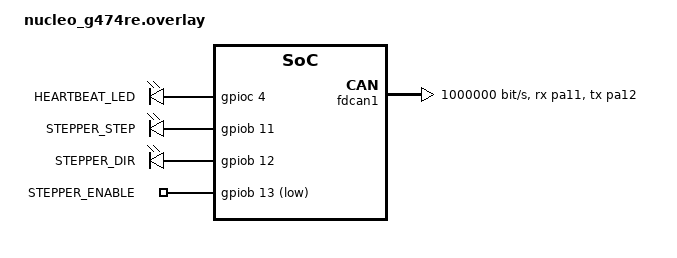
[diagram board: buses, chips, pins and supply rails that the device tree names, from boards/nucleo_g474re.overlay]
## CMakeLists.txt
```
cmake_minimum_required(VERSION 3.20.0)

set(CMAKE_CXX_STANDARD 20)
set(CMAKE_CXX_STANDARD_REQUIRED ON)
set(CMAKE_CXX_EXTENSIONS OFF)

find_package(Zephyr REQUIRED HINTS $ENV{ZEPHYR_BASE})
project(motor_node LANGUAGES CXX)

target_sources(app PRIVATE
  ${CMAKE_CURRENT_SOURCE_DIR}/src/main.cpp
  ${CMAKE_CURRENT_SOURCE_DIR}/src/gpio_overlay.cpp
  ${CMAKE_CURRENT_SOURCE_DIR}/src/heartbeat.cpp
  ${CMAKE_CURRENT_SOURCE_DIR}/src/stepper_motor_driver.cpp
  ${CMAKE_CURRENT_SOURCE_DIR}/src/motor_controller.cpp
  ${CMAKE_CURRENT_SOURCE_DIR}/../common/motor/src/can_bus_driver.cpp
  ${CMAKE_CURRENT_SOURCE_DIR}/../common/motor/src/message_codec.cpp
)

# Strict warnings apply only to our own application code, not to
# Zephyr's kernel/drivers/HAL/CMSIS sources (which are not -Werror clean
# on this toolchain and are not ours to fix).
target_compile_options(app PRIVATE
  -Wall
  -Wextra
  -Werror
  -Wvolatile
)

target_include_directories(app PRIVATE
  ${CMAKE_CURRENT_SOURCE_DIR}/include
  ${CMAKE_CURRENT_SOURCE_DIR}/../common/motor/include
)
```

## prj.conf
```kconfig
# ---- C++ support ------------------------------------------------------
CONFIG_CPP=y
CONFIG_STD_CPP20=y
CONFIG_NEWLIB_LIBC=y
CONFIG_GLIBCXX_LIBCPP=y

# ---- No heap allocation (Rule 1) --------------------------------------
CONFIG_HEAP_MEM_POOL_SIZE=0

# ---- Threading / stack watermarks (Rule 6) -----------------------------
CONFIG_THREAD_ANALYZER=y
CONFIG_THREAD_ANALYZER_AUTO=y
CONFIG_THREAD_NAME=y
CONFIG_MAIN_STACK_SIZE=2048

# ---- CAN-FD -------------------------------------------------------------
CONFIG_CAN=y
CONFIG_CAN_FD_MODE=y

# ---- GPIO (STEP/DIR/ENABLE, heartbeat LED) -------------------------------
CONFIG_GPIO=y

# ---- Precise timing for STEP pulse generation ---------------------------
CONFIG_COUNTER=y

# ---- Logging ----------------------------------------------------------
CONFIG_LOG=y
CONFIG_LOG_MODE_IMMEDIATE=y

# ---- Assertions ---------------------------------------------------------
CONFIG_ASSERT=y
```

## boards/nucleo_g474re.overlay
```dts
/*
 * Motor Node device tree overlay.
 * Binds: TMC2209 STEP/DIR/ENABLE GPIOs, FDCAN1 (CAN bus), PC4 heartbeat LED.
 *
 * Application code SHALL NEVER reference these nodes directly; only
 * gpio_overlay.cpp is permitted to consume DT_ALIAS()/DT_NODELABEL()
 * macros generated from this file.
 */

&fdcan1 {
	status = "okay";
	pinctrl-0 = <&fdcan1_rx_pa11 &fdcan1_tx_pa12>;
	pinctrl-names = "default";
	bitrate = <1000000>;
	bitrate-data = <4000000>;
};

/ {
	motor_leds {
		compatible = "gpio-leds";
		heartbeat_led: heartbeat_led_pc4 {
			gpios = <&gpioc 4 GPIO_ACTIVE_HIGH>;
			label = "HEARTBEAT_LED";
		};
	};

	motor_stepper_gpios {
		compatible = "gpio-leds";
		stepper_step: stepper_step_pb11 {
			gpios = <&gpiob 11 GPIO_ACTIVE_HIGH>;
			label = "STEPPER_STEP";
		};
		stepper_dir: stepper_dir_pb12 {
			gpios = <&gpiob 12 GPIO_ACTIVE_HIGH>;
			label = "STEPPER_DIR";
		};
		stepper_enable: stepper_enable_pb13 {
			gpios = <&gpiob 13 GPIO_ACTIVE_LOW>;
			label = "STEPPER_ENABLE";
		};
	};

	aliases {
		heartbeat-led = &heartbeat_led;
		stepper-step = &stepper_step;
		stepper-dir = &stepper_dir;
		stepper-enable = &stepper_enable;
		can-bus = &fdcan1;
	};
};
```

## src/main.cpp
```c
/// @file main.cpp
/// @brief Motor Node entry point. Wires gpio_overlay -> stepper_motor_driver
///        -> motor_controller and drives it from CAN RUN/STOP commands.
#include <zephyr/kernel.h>
#include <zephyr/logging/log.h>

#include "can_bus_driver.hpp"
#include "gpio_overlay.hpp"
#include "heartbeat.hpp"
#include "message_codec.hpp"
#include "motor_controller.hpp"
#include "stepper_motor_driver.hpp"

LOG_MODULE_REGISTER(motor_node_main, LOG_LEVEL_INF);

namespace {

using hce::motor_node::GpioOverlay;
using hce::motor_node::Heartbeat;
using hce::motor_node::MotorController;
using hce::motor_node::StepperMotorDriver;

constexpr uint32_t kStepTickPeriodUs = 1000U;
constexpr size_t kStepThreadStackSize = 1024U;
constexpr size_t kHeartbeatThreadStackSize = 1024U;
constexpr int kStepThreadPriority = 4;  // Higher priority: timing-critical.
constexpr int kHeartbeatThreadPriority = 5;

GpioOverlay g_overlay;
hce::motor::CanBusDriver* g_can_bus = nullptr;
StepperMotorDriver* g_stepper_driver = nullptr;
MotorController* g_motor_controller = nullptr;
Heartbeat* g_heartbeat = nullptr;

alignas(hce::motor::CanBusDriver) uint8_t g_can_bus_storage[sizeof(hce::motor::CanBusDriver)];
alignas(StepperMotorDriver) uint8_t g_stepper_storage[sizeof(StepperMotorDriver)];
alignas(MotorController) uint8_t g_controller_storage[sizeof(MotorController)];
alignas(Heartbeat) uint8_t g_heartbeat_storage[sizeof(Heartbeat)];

/// @brief ISR-context CAN RX callback for STOP (0x100). GPIO writes are
///        register-level and safe to issue directly from ISR context, so
///        no deferred work item is required for this safety-critical path.
extern "C" void OnStopCommandRx(const device* /*dev*/, can_frame* /*frame*/, void* /*user_data*/) {
    g_motor_controller->OnStopCommand();
}

/// @brief ISR-context CAN RX callback for RUN (0x400).
extern "C" void OnRunCommandRx(const device* /*dev*/, can_frame* frame, void* /*user_data*/) {
    hce::motor::MessageCodec::Payload payload{};
    for (uint8_t i = 0U; i < hce::motor::MessageCodec::kPayloadBytes && i < frame->dlc; ++i) {
        payload[i] = frame->data[i];
    }
    const hce::motor::RunCommandMessage msg = hce::motor::MessageCodec::DecodeRunCommand(payload);
    g_motor_controller->OnRunCommand(msg.step_rate_hz, msg.direction == 0U);
}

void StepThreadEntry(void* /*p1*/, void* /*p2*/, void* /*p3*/) {
    while (true) {
        g_motor_controller->Tick();
        k_usleep(kStepTickPeriodUs);
    }
}

void HeartbeatThreadEntry(void* /*p1*/, void* /*p2*/, void* /*p3*/) {
    while (true) {
        g_heartbeat->Tick();
        k_msleep(Heartbeat::kPeriodMs);
    }
}

K_THREAD_STACK_DEFINE(g_step_thread_stack, kStepThreadStackSize);
K_THREAD_STACK_DEFINE(g_heartbeat_thread_stack, kHeartbeatThreadStackSize);
k_thread g_step_thread{};
k_thread g_heartbeat_thread{};

}  // namespace

int main() {
    LOG_INF("Motor Node booting");

    if (!g_overlay.Init()) {
        LOG_ERR("gpio_overlay init failed - halting");
        return -1;
    }

    g_can_bus = new (g_can_bus_storage) hce::motor::CanBusDriver(g_overlay.CanDevice());
    g_stepper_driver = new (g_stepper_storage) StepperMotorDriver(g_overlay);
    g_motor_controller = new (g_controller_storage) MotorController(*g_stepper_driver);
    g_heartbeat = new (g_heartbeat_storage) Heartbeat(g_overlay, *g_can_bus);

    if (!g_can_bus->Init()) {
        LOG_ERR("CAN bus init failed - halting");
        return -1;
    }

    g_can_bus->AddRxFilter(hce::motor::CanId::kStopCommand, OnStopCommandRx, nullptr);
    g_can_bus->AddRxFilter(hce::motor::CanId::kRunCommand, OnRunCommandRx, nullptr);

    // Boot safe: motor starts disabled until an explicit RUN command arrives.
    g_motor_controller->OnStopCommand();

    k_thread_create(&g_step_thread, g_step_thread_stack, kStepThreadStackSize, StepThreadEntry,
                     nullptr, nullptr, nullptr, kStepThreadPriority, 0, K_NO_WAIT);
    k_thread_name_set(&g_step_thread, "motor_step");

    k_thread_create(&g_heartbeat_thread, g_heartbeat_thread_stack, kHeartbeatThreadStackSize,
                     HeartbeatThreadEntry, nullptr, nullptr, nullptr, kHeartbeatThreadPriority, 0,
                     K_NO_WAIT);
    k_thread_name_set(&g_heartbeat_thread, "motor_heartbeat");

    LOG_INF("Motor Node running");
    return 0;
}
```

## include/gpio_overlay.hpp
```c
/// @file gpio_overlay.hpp
/// @brief Sole layer permitted to reference Device Tree bindings for the
///        Motor Node. See sensor_node/include/gpio_overlay.hpp for the
///        architectural contract (application code never touches DT or
///        STM32 peripherals directly).
#pragma once

#include <cstdint>

#include <zephyr/device.h>
#include <zephyr/drivers/gpio.h>

namespace hce::motor_node {

/// @brief Thin, mockable wrapper around all Motor Node DT-bound devices.
class GpioOverlay {
public:
    GpioOverlay() = default;

    /// @brief Resolve and validate all required DT-bound devices.
    bool Init();

    /// @brief CAN-FD controller device (FDCAN1).
    const device* CanDevice() const { return can_dev_; }

    /// @brief Drive the heartbeat LED (PC4).
    bool SetHeartbeatLed(bool on);

    /// @brief Pulse the STEP line (PB11) high then low.
    bool PulseStep();

    /// @brief Set rotation direction (PB12). true = forward.
    bool SetDirection(bool forward);

    /// @brief Enable/disable the TMC2209 driver (PB13, active-low ENABLE).
    /// @param enabled true = motor enabled (EN pin driven low).
    bool SetMotorEnabled(bool enabled);

private:
    const device* can_dev_ = nullptr;
    gpio_dt_spec heartbeat_led_spec_{};
    gpio_dt_spec step_spec_{};
    gpio_dt_spec dir_spec_{};
    gpio_dt_spec enable_spec_{};
    bool initialized_ = false;
};

}  // namespace hce::motor_node
```

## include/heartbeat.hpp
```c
/// @file heartbeat.hpp
/// @brief Periodic heartbeat: toggles the PC4 LED and transmits CAN ID
///        0x201 every 200 ms.
#pragma once

#include <cstdint>

#include "can_bus_driver.hpp"
#include "gpio_overlay.hpp"
#include "message_codec.hpp"

namespace hce::motor_node {

/// @brief Motor Node heartbeat publisher.
class Heartbeat {
public:
    Heartbeat(GpioOverlay& overlay, hce::motor::ICanBusDriver& can_bus);

    void Tick();

    static constexpr uint32_t kPeriodMs = 200U;

private:
    GpioOverlay& overlay_;
    hce::motor::ICanBusDriver& can_bus_;
    uint32_t sequence_ = 0U;
    bool led_state_ = false;
};

}  // namespace hce::motor_node
```

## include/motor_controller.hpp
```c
/// @file motor_controller.hpp
/// @brief Interprets RUN (0x400) / STOP (0x100) CAN commands and drives
///        the stepper motor accordingly. Implements the State design
///        pattern (Rule 4: named design pattern) over {STOPPED, RUNNING}.
#pragma once

#include <cstdint>

#include "stepper_motor_driver.hpp"

namespace hce::motor_node {

/// @brief Motor Node run/stop state machine (State pattern).
enum class MotorState : uint8_t {
    kStopped = 0U,
    kRunning = 1U,
};

/// @brief Coordinates CAN commands with the stepper driver.
class MotorController {
public:
    explicit MotorController(IStepperMotorDriver& driver);

    /// @brief Handle a RUN command (CAN ID 0x400).
    void OnRunCommand(uint32_t step_rate_hz, bool forward);

    /// @brief Handle a STOP command (CAN ID 0x100). Immediately disables
    ///        the driver (safety-critical path).
    void OnStopCommand();

    /// @brief Generate STEP pulses at the configured rate. Intended to be
    ///        called periodically from the motor step thread; internally
    ///        no-ops unless MotorState::kRunning.
    void Tick();

    MotorState State() const { return state_; }

private:
    IStepperMotorDriver& driver_;
    MotorState state_ = MotorState::kStopped;
    uint32_t step_rate_hz_ = 0U;
    uint32_t tick_counter_ = 0U;
    static constexpr uint32_t kTickPeriodUs = 1000U;  ///< Tick() call period.
};

}  // namespace hce::motor_node
```

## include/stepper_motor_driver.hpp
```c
/// @file stepper_motor_driver.hpp
/// @brief TMC2209 STEP/DIR/ENABLE driver for the NEMA-11 stepper motor.
#pragma once

#include <cstdint>

#include "gpio_overlay.hpp"

namespace hce::motor_node {

/// @brief Interface so StepperMotorDriver can be mocked on the host build.
class IStepperMotorDriver {
public:
    virtual ~IStepperMotorDriver() = default;
    virtual void Enable() = 0;
    virtual void Disable() = 0;
    virtual void SetDirection(bool forward) = 0;
    virtual void Step() = 0;
    virtual bool IsEnabled() const = 0;
};

/// @brief Concrete TMC2209 STEP/DIR/ENABLE driver.
class StepperMotorDriver final : public IStepperMotorDriver {
public:
    explicit StepperMotorDriver(GpioOverlay& overlay);

    void Enable() override;
    void Disable() override;
    void SetDirection(bool forward) override;
    void Step() override;
    bool IsEnabled() const override { return enabled_; }

private:
    GpioOverlay& overlay_;
    bool enabled_ = false;
};

}  // namespace hce::motor_node
```

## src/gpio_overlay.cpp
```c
#include "gpio_overlay.hpp"

#include <zephyr/devicetree.h>
#include <zephyr/logging/log.h>

LOG_MODULE_REGISTER(motor_gpio_overlay, LOG_LEVEL_INF);

namespace hce::motor_node {

bool GpioOverlay::Init() {
    can_dev_ = DEVICE_DT_GET(DT_ALIAS(can_bus));
    heartbeat_led_spec_ = GPIO_DT_SPEC_GET(DT_ALIAS(heartbeat_led), gpios);
    step_spec_ = GPIO_DT_SPEC_GET(DT_ALIAS(stepper_step), gpios);
    dir_spec_ = GPIO_DT_SPEC_GET(DT_ALIAS(stepper_dir), gpios);
    enable_spec_ = GPIO_DT_SPEC_GET(DT_ALIAS(stepper_enable), gpios);

    if (!device_is_ready(can_dev_) || !device_is_ready(heartbeat_led_spec_.port) ||
        !device_is_ready(step_spec_.port) || !device_is_ready(dir_spec_.port) ||
        !device_is_ready(enable_spec_.port)) {
        LOG_ERR("One or more Motor Node devices are not ready");
        return false;
    }

    int err = gpio_pin_configure_dt(&heartbeat_led_spec_, GPIO_OUTPUT_INACTIVE);
    err |= gpio_pin_configure_dt(&step_spec_, GPIO_OUTPUT_INACTIVE);
    err |= gpio_pin_configure_dt(&dir_spec_, GPIO_OUTPUT_INACTIVE);
    // Boot in the disabled (safe) state: ENABLE is active-low, so
    // "inactive" here drives EN high, i.e. the TMC2209 stays disabled.
    err |= gpio_pin_configure_dt(&enable_spec_, GPIO_OUTPUT_INACTIVE);
    if (err != 0) {
        LOG_ERR("GPIO configuration failed: %d", err);
        return false;
    }

    initialized_ = true;
    return true;
}

bool GpioOverlay::SetHeartbeatLed(bool on) {
    if (!initialized_) {
        return false;
    }
    return gpio_pin_set_dt(&heartbeat_led_spec_, on ? 1 : 0) == 0;
}

bool GpioOverlay::PulseStep() {
    if (!initialized_) {
        return false;
    }
    gpio_pin_set_dt(&step_spec_, 1);
    gpio_pin_set_dt(&step_spec_, 0);
    return true;
}

bool GpioOverlay::SetDirection(bool forward) {
    if (!initialized_) {
        return false;
    }
    return gpio_pin_set_dt(&dir_spec_, forward ? 1 : 0) == 0;
}

bool GpioOverlay::SetMotorEnabled(bool enabled) {
    if (!initialized_) {
        return false;
    }
    // gpio_dt_spec with GPIO_ACTIVE_LOW already inverts logical vs
    // physical level, so "1" here means "logically enabled".
    return gpio_pin_set_dt(&enable_spec_, enabled ? 1 : 0) == 0;
}

}  // namespace hce::motor_node
```

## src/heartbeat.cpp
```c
#include "heartbeat.hpp"

namespace hce::motor_node {

Heartbeat::Heartbeat(GpioOverlay& overlay, hce::motor::ICanBusDriver& can_bus)
    : overlay_(overlay), can_bus_(can_bus) {}

void Heartbeat::Tick() {
    led_state_ = !led_state_;
    overlay_.SetHeartbeatLed(led_state_);

    hce::motor::HeartbeatMessage msg{};
    msg.sequence = sequence_;
    msg.node_ok = 1U;
    ++sequence_;

    const hce::motor::MessageCodec::Payload payload = hce::motor::MessageCodec::EncodeHeartbeat(msg);
    can_bus_.Send(hce::motor::CanId::kMotorHeartbeat, payload.data(),
                   hce::motor::MessageCodec::kPayloadBytes);
}

}  // namespace hce::motor_node
```

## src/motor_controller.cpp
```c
#include "motor_controller.hpp"

namespace hce::motor_node {

MotorController::MotorController(IStepperMotorDriver& driver) : driver_(driver) {}

void MotorController::OnRunCommand(uint32_t step_rate_hz, bool forward) {
    driver_.SetDirection(forward);
    driver_.Enable();
    step_rate_hz_ = step_rate_hz;
    tick_counter_ = 0U;
    state_ = MotorState::kRunning;
}

void MotorController::OnStopCommand() {
    // Safety-critical path: disable immediately regardless of current state.
    driver_.Disable();
    step_rate_hz_ = 0U;
    state_ = MotorState::kStopped;
}

void MotorController::Tick() {
    if (state_ != MotorState::kRunning || step_rate_hz_ == 0U) {
        return;
    }

    const uint32_t ticks_per_step = 1000000U / (step_rate_hz_ * kTickPeriodUs);
    const uint32_t divisor = (ticks_per_step == 0U) ? 1U : ticks_per_step;

    ++tick_counter_;
    if (tick_counter_ >= divisor) {
        tick_counter_ = 0U;
        driver_.Step();
    }
}

}  // namespace hce::motor_node
```

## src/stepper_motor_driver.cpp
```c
#include "stepper_motor_driver.hpp"

namespace hce::motor_node {

StepperMotorDriver::StepperMotorDriver(GpioOverlay& overlay) : overlay_(overlay) {}

void StepperMotorDriver::Enable() {
    overlay_.SetMotorEnabled(true);
    enabled_ = true;
}

void StepperMotorDriver::Disable() {
    overlay_.SetMotorEnabled(false);
    enabled_ = false;
}

void StepperMotorDriver::SetDirection(bool forward) {
    overlay_.SetDirection(forward);
}

void StepperMotorDriver::Step() {
    if (enabled_) {
        overlay_.PulseStep();
    }
}

}  // namespace hce::motor_node
```
